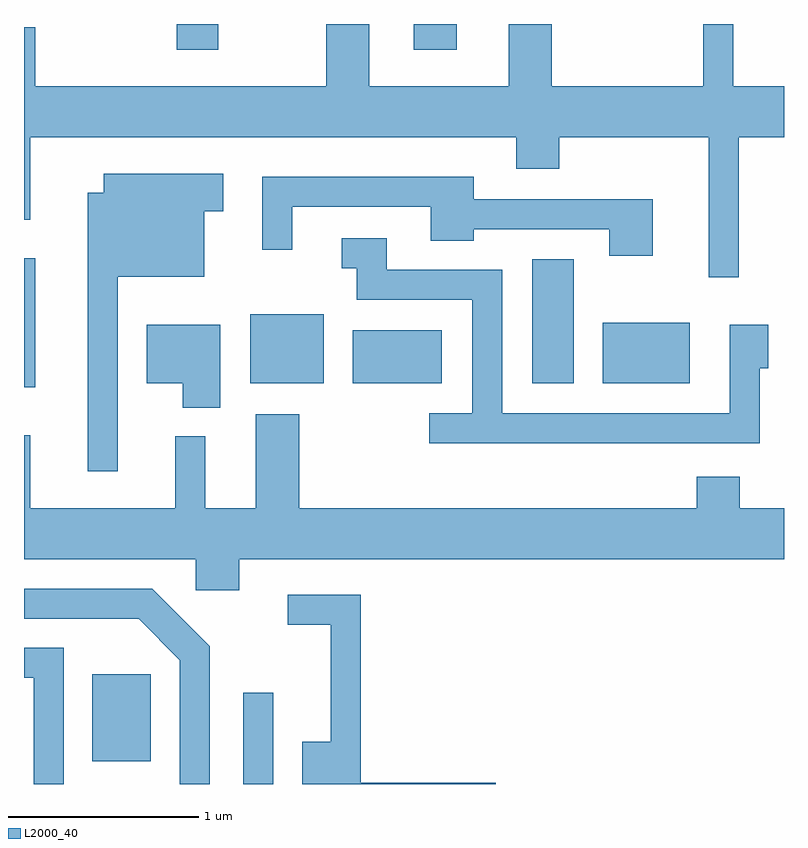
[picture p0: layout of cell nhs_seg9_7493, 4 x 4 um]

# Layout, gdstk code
import gdstk
lib = gdstk.Library(unit=1e-6, precision=1e-09)
def R(c, l, rs):  # rectangles x0, y0, x1, y1
    for r in rs: c.add(gdstk.rectangle(r[:2], r[2:], *l))
def P(c, l, *ps):  # polygons
    for p in ps: c.add(gdstk.Polygon(p, *l))
L2000_40 = (2000, 40)

nhs_seg9_7493 = lib.new_cell('nhs_seg9_7493')
R(nhs_seg9_7493, L2000_40, [(408.766,1968.432,408.924,1968.913), (407.971,1968.551,408.279,1969.009), (407.611,1970.521,407.669,1971.199), (408.801,1970.541,409.189,1970.904), (409.341,1970.541,409.809,1970.819), (410.286,1970.541,410.504,1971.194), (410.656,1970.541,411.114,1970.859), (408.416,1972.296,408.634,1972.432), (409.661,1972.296,409.889,1972.432)])
P(nhs_seg9_7493, L2000_40, [(410.389,1972.432),(410.161,1972.432),(410.161,1972.104),(409.429,1972.104),(409.429,1972.432),(409.201,1972.432),(409.201,1972.104),(407.669,1972.104),(407.669,1972.414),(407.611,1972.414),(407.611,1971.403),(407.644,1971.403),(407.644,1971.836),(410.201,1971.836),(410.201,1971.671),(410.429,1971.671),(410.429,1971.836),(411.216,1971.836),(411.216,1971.098),(411.374,1971.098),(411.374,1971.836),(411.611,1971.836),(411.611,1972.104),(411.344,1972.104),(411.344,1972.432),(411.186,1972.432),(411.186,1972.104),(410.389,1972.104)],
  [(408.104,1971.101),(408.559,1971.101),(408.559,1971.446),(408.659,1971.446),(408.659,1971.644),(408.031,1971.644),(408.031,1971.544),(407.946,1971.544),(407.946,1970.078),(408.104,1970.078)],
  [(410.919,1971.509),(409.979,1971.509),(409.979,1971.629),(408.866,1971.629),(408.866,1971.243),(409.024,1971.243),(409.024,1971.471),(409.751,1971.471),(409.751,1971.291),(409.979,1971.291),(409.979,1971.351),(410.691,1971.351),(410.691,1971.211),(410.919,1971.211)],
  [(411.484,1970.621),(411.529,1970.621),(411.529,1970.849),(411.326,1970.849),(411.326,1970.384),(410.129,1970.384),(410.129,1971.139),(409.519,1971.139),(409.519,1971.304),(409.283,1971.304),(409.283,1971.146),(409.361,1971.146),(409.361,1970.981),(409.971,1970.981),(409.971,1970.384),(409.743,1970.384),(409.743,1970.226),(411.484,1970.226)],
  [(408.644,1970.849),(408.256,1970.849),(408.256,1970.541),(408.446,1970.541),(408.446,1970.411),(408.644,1970.411)],
  [(408.744,1969.616),(411.611,1969.616),(411.611,1969.884),(411.379,1969.884),(411.379,1970.049),(411.151,1970.049),(411.151,1969.884),(409.059,1969.884),(409.059,1970.379),(408.831,1970.379),(408.831,1969.884),(408.564,1969.884),(408.564,1970.263),(408.406,1970.263),(408.406,1969.884),(407.644,1969.884),(407.644,1970.268),(407.611,1970.268),(407.611,1969.616),(408.516,1969.616),(408.516,1969.451),(408.744,1969.451)],
  [(408.589,1969.157),(408.287,1969.459),(407.611,1969.459),(407.611,1969.301),(408.214,1969.301),(408.431,1969.084),(408.431,1968.432),(408.589,1968.432)],
  [(410.094,1968.439),(409.384,1968.439),(409.384,1969.429),(408.998,1969.429),(408.998,1969.271),(409.226,1969.271),(409.226,1968.654),(409.076,1968.654),(409.076,1968.432),(410.094,1968.432)],
  [(407.819,1969.149),(407.611,1969.149),(407.611,1968.991),(407.661,1968.991),(407.661,1968.432),(407.819,1968.432)])

lib.write_gds('nhs_seg9_7493.gds')
